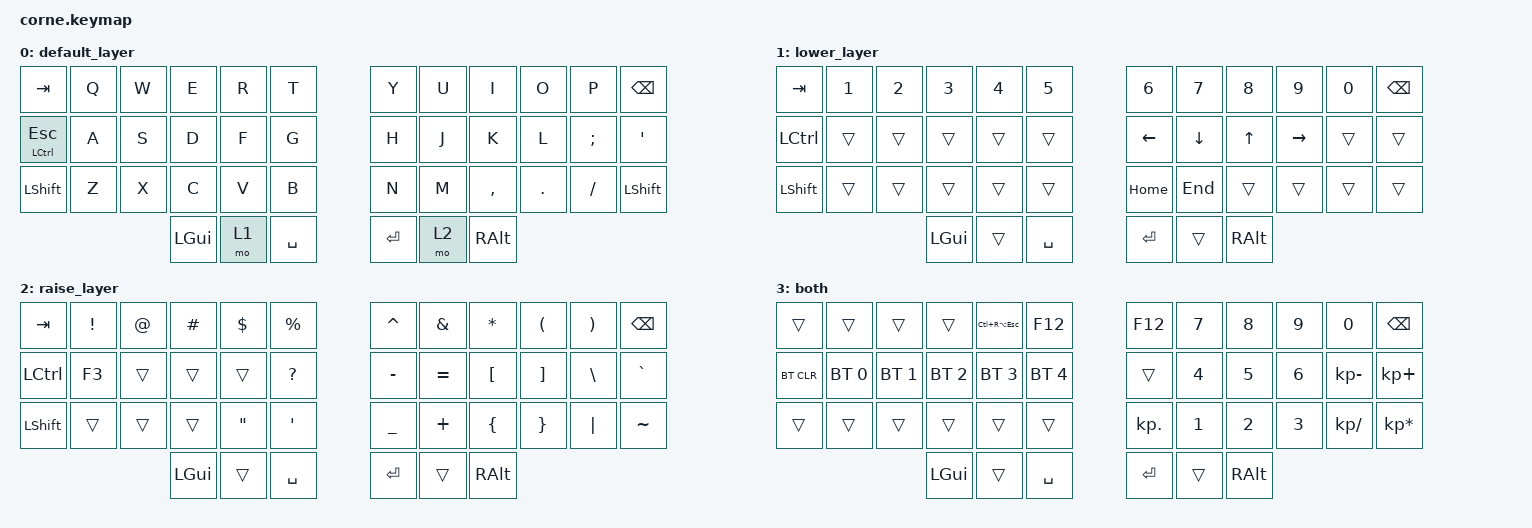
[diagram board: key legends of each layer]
/*
 * Copyright (c) 2020 The ZMK Contributors
 *
 * SPDX-License-Identifier: MIT
 */

#include <behaviors.dtsi>
#include <dt-bindings/zmk/bt.h>
#include <dt-bindings/zmk/keys.h>

/ {
    keymap {
        compatible = "zmk,keymap";

        default_layer {
            // -----------------------------------------------------------------------------------------
            // |  TAB |  Q  |  W  |  E  |  R  |  T  |   |  Y  |  U   |  I  |  O  |  P  | BKSP |
            // | CTRL |  A  |  S  |  D  |  F  |  G  |   |  H  |  J   |  K  |  L  |  ;  |  '   |
            // | SHFT |  Z  |  X  |  C  |  V  |  B  |   |  N  |  M   |  ,  |  .  |  /  | ESC  |
            //                    | GUI | LWR | SPC |   | ENT | RSE  | ALT |

            bindings = <
&kp TAB           &kp Q  &kp W  &kp E     &kp R  &kp T        &kp Y    &kp U  &kp I      &kp O    &kp P     &kp BSPC
&mt LCTRL ESCAPE  &kp A  &kp S  &kp D     &kp F  &kp G        &kp H    &kp J  &kp K      &kp L    &kp SEMI  &kp SQT
&kp LSHFT         &kp Z  &kp X  &kp C     &kp V  &kp B        &kp N    &kp M  &kp COMMA  &kp DOT  &kp FSLH  &kp LSHIFT
                                &kp LGUI  &mo 1  &kp SPACE    &kp RET  &mo 2  &kp RALT
            >;
        };

        lower_layer {
            // -----------------------------------------------------------------------------------------
            // |  TAB |  1  |  2  |  3  |  4  |  5  |   |  6  |  7  |  8  |  9  |  0  | BKSP |
            // | BTCLR| BT1 | BT2 | BT3 | BT4 | BT5 |   | LFT | DWN |  UP | RGT |     |      |
            // | SHFT |     |     |     |     |     |   |     |     |     |     |     |      |
            //                    | GUI |     | SPC |   | ENT |     | ALT |

            bindings = <
&kp TAB    &kp N1  &kp N2  &kp N3    &kp N4  &kp N5       &kp N6    &kp N7    &kp N8    &kp N9     &kp N0  &kp BSPC
&kp LCTRL  &trans  &trans  &trans    &trans  &trans       &kp LEFT  &kp DOWN  &kp UP    &kp RIGHT  &trans  &trans
&kp LSHFT  &trans  &trans  &trans    &trans  &trans       &kp HOME  &kp END   &trans    &trans     &trans  &trans
                           &kp LGUI  &trans  &kp SPACE    &kp RET   &trans    &kp RALT
            >;
        };

        raise_layer {
            // -----------------------------------------------------------------------------------------
            // |  TAB |  !  |  @  |  #  |  $  |  %  |   |  ^  |  &  |  *  |  (  |  )  | BKSP |
            // | CTRL |     |     |     |     |     |   |  -  |  =  |  [  |  ]  |  \  |  `   |
            // | SHFT |     |     |     |     |     |   |  _  |  +  |  {  |  }  | "|" |  ~   |
            //                    | GUI |     | SPC |   | ENT |     | ALT |

            bindings = <
&kp TAB    &kp EXCL  &kp AT  &kp HASH  &kp DLLR           &kp PRCNT       &kp CARET  &kp AMPS   &kp ASTRK  &kp LPAR  &kp RPAR  &kp BSPC
&kp LCTRL  &kp F3    &trans  &trans    &trans             &kp QUESTION    &kp MINUS  &kp EQUAL  &kp LBKT   &kp RBKT  &kp BSLH  &kp GRAVE
&kp LSHFT  &trans    &trans  &trans    &kp DOUBLE_QUOTES  &kp APOS        &kp UNDER  &kp PLUS   &kp LBRC   &kp RBRC  &kp PIPE  &kp TILDE
                             &kp LGUI  &trans             &kp SPACE       &kp RET    &trans     &kp RALT
            >;
        };

        both {
            bindings = <
&trans      &trans        &trans        &trans        &kp LC(RA(ESCAPE))  &kp F12         &kp F12     &kp N7        &kp N8         &kp N9        &kp N0         &kp BACKSPACE
&bt BT_CLR  &bt BT_SEL 0  &bt BT_SEL 1  &bt BT_SEL 2  &bt BT_SEL 3        &bt BT_SEL 4    &trans      &kp NUMBER_4  &kp N5         &kp NUMBER_6  &kp KP_MINUS   &kp KP_PLUS
&trans      &trans        &trans        &trans        &trans              &trans          &kp KP_DOT  &kp NUMBER_1  &kp NUMBER_2   &kp NUMBER_3  &kp KP_DIVIDE  &kp KP_ASTERISK
                                        &kp LGUI      &trans              &kp SPACE       &kp ENTER   &trans        &kp RIGHT_ALT
            >;
        };
    };

    conditional_layers {
        compatible = "zmk,conditional-layers";

        tri_layer {
            if-layers = <1 2>;
            then-layer = <3>;
        };
    };
};
